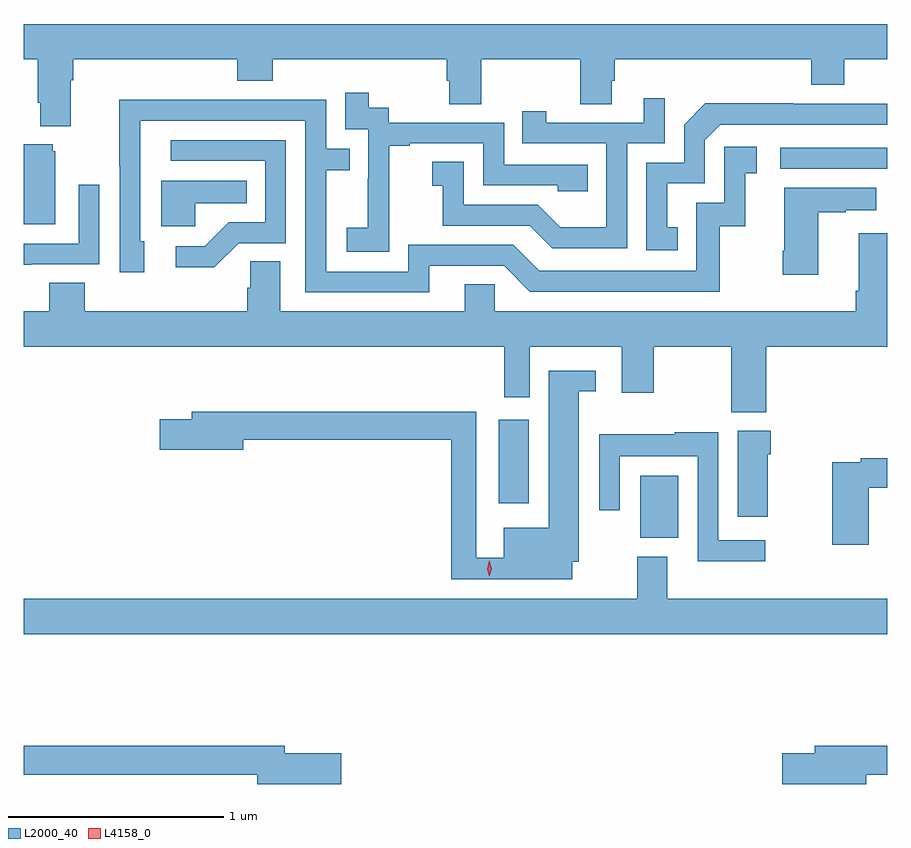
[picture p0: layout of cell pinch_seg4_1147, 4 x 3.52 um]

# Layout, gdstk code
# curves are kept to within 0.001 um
import gdstk
lib = gdstk.Library(unit=1e-6, precision=1e-09)
def R(c, l, rs):  # rectangles x0, y0, x1, y1
    for r in rs: c.add(gdstk.rectangle(r[:2], r[2:], *l))
def P(c, l, *ps):  # polygons
    for p in ps: c.add(gdstk.Polygon(p, *l))
L2000_40 = (2000, 40)
L4158_0 = (4158, 0)

pinch_seg4_1147 = lib.new_cell('pinch_seg4_1147')
R(pinch_seg4_1147, L2000_40, [(459.272,773.291,459.448,773.578), (458.615,773.451,458.755,773.839), (459.921,775.002,460.415,775.098)])
P(pinch_seg4_1147, L2000_40, [(456.631,775.412),(456.644,775.412),(456.644,775.508),(457.403,775.508),(457.403,775.409),(457.568,775.409),(457.568,775.508),(458.375,775.508),(458.375,775.41),(458.387,775.41),(458.387,775.3),(458.535,775.3),(458.535,775.508),(458.992,775.508),(458.992,775.3),(459.139,775.3),(459.139,775.41),(459.152,775.41),(459.152,775.508),(460.064,775.508),(460.064,775.391),(460.216,775.391),(460.216,775.508),(460.415,775.508),(460.415,775.672),(456.415,775.672),(456.415,775.508),(456.479,775.508),(456.479,775.306),(456.491,775.306),(456.491,775.199),(456.631,775.199)],
  [(458.109,774.823),(458.108,774.823),(458.108,775.107),(458.203,775.107),(458.203,775.119),(458.544,775.119),(458.544,774.924),(458.889,774.924),(458.889,774.897),(459.029,774.897),(459.029,775.02),(458.64,775.02),(458.64,775.215),(458.106,775.215),(458.106,775.284),(458.014,775.284),(458.014,775.354),(457.905,775.354),(457.905,775.185),(458.01,775.185),(458.01,774.956),(458.009,774.956),(458.009,774.727),(457.911,774.727),(457.911,774.617),(458.109,774.617)],
  [(459.21,775.119),(459.384,775.119),(459.384,775.327),(459.287,775.327),(459.287,775.215),(458.836,775.215),(458.836,775.267),(458.725,775.267),(458.725,775.119),(459.114,775.119),(459.114,774.73),(458.9,774.73),(458.796,774.834),(458.454,774.834),(458.454,775.033),(458.307,775.033),(458.307,774.923),(458.356,774.923),(458.356,774.738),(458.759,774.738),(458.864,774.633),(459.21,774.633)],
  [(458.293,774.552),(458.64,774.552),(458.76,774.432),(459.64,774.432),(459.64,774.735),(459.758,774.735),(459.758,774.981),(459.811,774.981),(459.811,775.102),(459.66,775.102),(459.66,774.843),(459.531,774.843),(459.531,774.528),(458.802,774.528),(458.682,774.648),(458.196,774.648),(458.196,774.525),(457.815,774.525),(457.815,774.994),(457.925,774.994),(457.925,775.095),(457.815,775.095),(457.815,775.32),(457.319,775.32),(457.319,775.322),(456.856,775.322),(456.856,775.015),(456.858,775.015),(456.858,774.522),(456.973,774.522),(456.973,774.666),(456.954,774.666),(456.955,775.224),(457.719,775.224),(457.719,774.429),(458.293,774.429)],
  [(459.446,774.729),(459.397,774.729),(459.397,774.933),(459.57,774.933),(459.57,775.134),(459.642,775.206),(460.415,775.206),(460.415,775.302),(459.98,775.302),(459.98,775.304),(459.572,775.304),(459.474,775.206),(459.474,775.029),(459.3,775.029),(459.3,774.624),(459.446,774.624)],
  [(457.41,774.657),(457.629,774.657),(457.629,775.134),(457.095,775.134),(457.095,775.038),(457.533,775.038),(457.533,774.753),(457.364,774.753),(457.253,774.642),(457.119,774.642),(457.119,774.545),(457.297,774.545)],
  [(456.559,775.083),(456.548,775.083),(456.548,775.114),(456.415,775.114),(456.415,774.743),(456.559,774.743)],
  [(457.209,774.842),(457.448,774.842),(457.448,774.946),(457.052,774.946),(457.052,774.734),(457.209,774.734)],
  [(456.449,774.558),(456.765,774.558),(456.765,774.928),(456.669,774.928),(456.669,774.654),(456.415,774.654),(456.415,774.557),(456.449,774.557)],
  [(460.096,774.799),(460.223,774.799),(460.223,774.809),(460.366,774.809),(460.366,774.913),(459.938,774.913),(459.938,774.622),(459.931,774.622),(459.931,774.51),(460.096,774.51)],
  [(459.854,774.176),(460.415,774.176),(460.415,774.703),(460.283,774.703),(460.283,774.436),(460.271,774.436),(460.271,774.34),(458.598,774.34),(458.598,774.467),(458.459,774.467),(458.459,774.34),(457.603,774.34),(457.603,774.572),(457.464,774.572),(457.464,774.449),(457.451,774.449),(457.451,774.34),(456.698,774.34),(456.698,774.473),(456.533,774.473),(456.533,774.34),(456.415,774.34),(456.415,774.176),(458.64,774.176),(458.64,773.943),(458.758,773.943),(458.758,774.176),(459.185,774.176),(459.185,773.964),(459.333,773.964),(459.333,774.176),(459.694,774.176),(459.694,773.872),(459.854,773.872)],
  [(458.956,773.18),(458.986,773.18),(458.986,773.969),(459.064,773.969),(459.064,774.066),(458.846,774.066),(458.846,773.338),(458.639,773.338),(458.639,773.199),(458.511,773.199),(458.511,773.875),(457.193,773.875),(457.193,773.841),(457.044,773.841),(457.044,773.699),(457.432,773.699),(457.432,773.746),(458.395,773.746),(458.395,773.1),(458.743,773.1),(458.743,773.099),(458.956,773.099)],
  [(459.862,773.678),(459.875,773.678),(459.875,773.787),(459.722,773.787),(459.722,773.388),(459.862,773.388)],
  [(459.85,773.28),(459.633,773.28),(459.633,773.78),(459.43,773.78),(459.43,773.77),(459.081,773.77),(459.081,773.418),(459.177,773.418),(459.177,773.669),(459.537,773.669),(459.537,773.183),(459.85,773.183)],
  [(460.331,773.524),(460.415,773.524),(460.415,773.66),(460.294,773.66),(460.294,773.64),(460.16,773.64),(460.16,773.259),(460.331,773.259)],
  [(460.415,773.008),(459.397,773.008),(459.397,773.203),(459.257,773.203),(459.257,773.008),(456.415,773.008),(456.415,772.844),(460.415,772.844)],
  [(460.318,772.192),(460.415,772.192),(460.415,772.328),(460.079,772.328),(460.079,772.292),(459.93,772.292),(459.93,772.15),(460.318,772.15)],
  [(457.885,772.292),(457.624,772.292),(457.624,772.328),(456.415,772.328),(456.415,772.192),(457.496,772.192),(457.496,772.15),(457.885,772.15)])
P(pinch_seg4_1147, L4158_0, [(458.571,773.112),(458.571,773.112),(458.562,773.148),(458.572,773.184),(458.572,773.184),(458.572,773.184),(458.582,773.148),(458.571,773.112)])

lib.write_gds('pinch_seg4_1147.gds')
